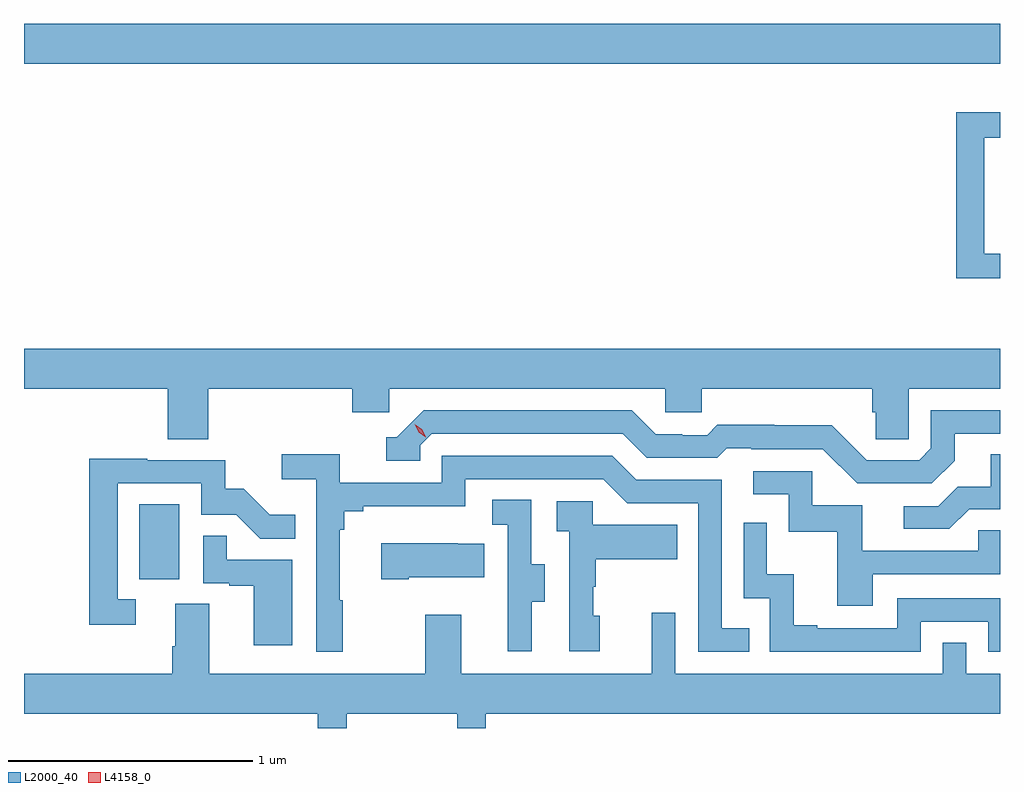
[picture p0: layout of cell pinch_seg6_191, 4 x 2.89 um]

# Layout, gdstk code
import gdstk
lib = gdstk.Library(unit=1e-6, precision=1e-09)
def R(c, l, rs):  # rectangles x0, y0, x1, y1
    for r in rs: c.add(gdstk.rectangle(r[:2], r[2:], *l))
def P(c, l, *ps):  # polygons
    for p in ps: c.add(gdstk.Polygon(p, *l))
L2000_40 = (2000, 40)
L4158_0 = (4158, 0)

pinch_seg6_191 = lib.new_cell('pinch_seg6_191')
R(pinch_seg6_191, L2000_40, [(1053.098,923.91,1053.262,924.217), (1052.625,926.024,1056.625,926.188)])
P(pinch_seg6_191, L2000_40, [(1056.625,925.245),(1056.561,925.245),(1056.561,925.719),(1056.625,925.719),(1056.625,925.825),(1056.445,925.825),(1056.445,925.144),(1056.625,925.144)],
  [(1053.38,924.692),(1053.971,924.692),(1053.971,924.594),(1054.122,924.594),(1054.122,924.692),(1055.253,924.692),(1055.253,924.594),(1055.403,924.594),(1055.403,924.692),(1056.101,924.692),(1056.101,924.594),(1056.115,924.594),(1056.115,924.484),(1056.252,924.484),(1056.252,924.692),(1056.625,924.692),(1056.625,924.856),(1052.625,924.856),(1052.625,924.692),(1053.215,924.692),(1053.215,924.484),(1053.38,924.484)],
  [(1056.439,924.397),(1056.439,924.507),(1056.625,924.507),(1056.625,924.603),(1056.342,924.603),(1056.342,924.447),(1056.294,924.399),(1056.078,924.399),(1055.936,924.541),(1055.7,924.541),(1055.7,924.544),(1055.467,924.544),(1055.425,924.501),(1055.322,924.501),(1055.322,924.504),(1055.215,924.504),(1055.116,924.603),(1054.263,924.603),(1054.152,924.492),(1054.109,924.492),(1054.109,924.396),(1054.248,924.396),(1054.248,924.459),(1054.296,924.507),(1055.079,924.507),(1055.178,924.408),(1055.467,924.408),(1055.506,924.447),(1055.605,924.447),(1055.605,924.444),(1055.898,924.444),(1056.039,924.303),(1056.345,924.303)],
  [(1053.931,923.825),(1053.919,923.825),(1053.919,924.113),(1053.938,924.113),(1053.938,924.19),(1054.015,924.19),(1054.015,924.209),(1054.434,924.209),(1054.434,924.321),(1054.998,924.321),(1055.097,924.222),(1055.388,924.222),(1055.388,923.613),(1055.597,923.613),(1055.597,923.709),(1055.484,923.709),(1055.484,924.318),(1055.134,924.318),(1055.035,924.417),(1054.338,924.417),(1054.338,924.306),(1053.92,924.306),(1053.92,924.422),(1053.681,924.422),(1053.681,924.32),(1053.822,924.32),(1053.822,923.613),(1053.931,923.613)],
  [(1056.499,924.198),(1056.625,924.198),(1056.625,924.422),(1056.587,924.422),(1056.587,924.29),(1056.452,924.29),(1056.372,924.21),(1056.231,924.21),(1056.231,924.117),(1056.418,924.117)],
  [(1053.082,923.829),(1053.009,923.829),(1053.009,924.303),(1053.351,924.303),(1053.351,924.174),(1053.495,924.174),(1053.593,924.076),(1053.737,924.076),(1053.737,924.175),(1053.633,924.175),(1053.526,924.282),(1053.45,924.282),(1053.45,924.399),(1053.131,924.399),(1053.131,924.404),(1052.893,924.404),(1052.893,923.724),(1053.082,923.724)],
  [(1056.103,923.931),(1056.625,923.931),(1056.625,924.111),(1056.535,924.111),(1056.535,924.027),(1056.061,924.027),(1056.061,924.213),(1055.856,924.213),(1055.856,924.354),(1055.613,924.354),(1055.613,924.258),(1055.76,924.258),(1055.76,924.105),(1055.959,924.105),(1055.959,923.802),(1056.103,923.802)],
  [(1054.705,923.818),(1054.759,923.818),(1054.759,923.973),(1054.704,923.973),(1054.704,924.236),(1054.545,924.236),(1054.545,924.133),(1054.608,924.133),(1054.608,923.829),(1054.607,923.829),(1054.607,923.616),(1054.705,923.616)],
  [(1054.984,923.76),(1054.959,923.76),(1054.959,923.879),(1054.969,923.879),(1054.969,923.993),(1055.303,923.993),(1055.303,924.133),(1054.956,924.133),(1054.956,924.231),(1054.809,924.231),(1054.809,924.107),(1054.86,924.107),(1054.86,923.616),(1054.984,923.616)],
  [(1056.3,923.736),(1056.576,923.736),(1056.576,923.613),(1056.625,923.613),(1056.625,923.832),(1056.204,923.832),(1056.204,923.709),(1055.875,923.709),(1055.875,923.722),(1055.78,923.722),(1055.78,923.93),(1055.67,923.93),(1055.67,924.142),(1055.574,924.142),(1055.574,923.832),(1055.682,923.832),(1055.682,923.613),(1056.3,923.613)],
  [(1053.724,923.991),(1053.455,923.991),(1053.455,924.089),(1053.36,924.089),(1053.36,923.895),(1053.467,923.895),(1053.467,923.883),(1053.566,923.883),(1053.566,923.64),(1053.724,923.64)],
  [(1054.201,923.918),(1054.511,923.918),(1054.511,924.055),(1054.403,924.055),(1054.403,924.058),(1054.089,924.058),(1054.089,923.911),(1054.201,923.911)],
  [(1053.947,923.36),(1054.4,923.36),(1054.4,923.299),(1054.517,923.299),(1054.517,923.36),(1056.625,923.36),(1056.625,923.524),(1056.486,923.524),(1056.486,923.651),(1056.39,923.651),(1056.39,923.524),(1055.295,923.524),(1055.295,923.773),(1055.198,923.773),(1055.198,923.524),(1054.417,923.524),(1054.417,923.764),(1054.27,923.764),(1054.27,923.524),(1053.385,923.524),(1053.385,923.81),(1053.245,923.81),(1053.245,923.636),(1053.233,923.636),(1053.233,923.524),(1052.625,923.524),(1052.625,923.36),(1053.829,923.36),(1053.829,923.299),(1053.947,923.299)])
P(pinch_seg6_191, L4158_0, [(1054.272,924.493),(1054.242,924.513),(1054.226,924.546),(1054.226,924.546),(1054.226,924.546),(1054.256,924.526),(1054.272,924.494),(1054.272,924.493)])

lib.write_gds('pinch_seg6_191.gds')
